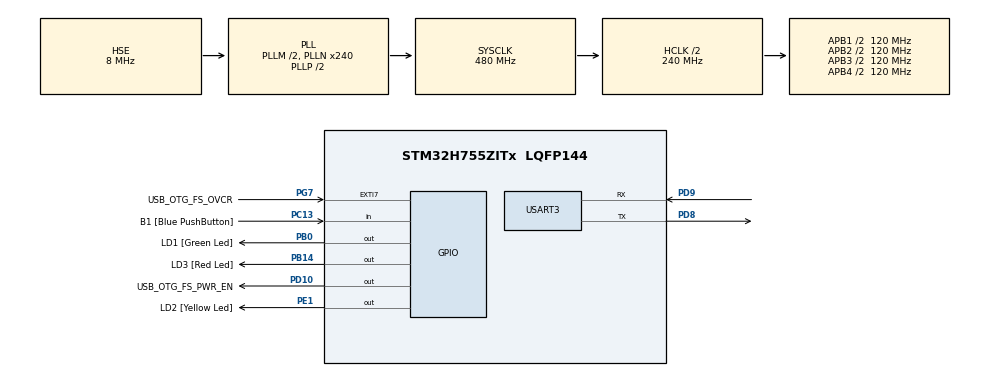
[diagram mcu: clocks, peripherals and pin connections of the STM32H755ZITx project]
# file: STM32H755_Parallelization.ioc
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CortexM4.IPs=FATFS_M4\:I,FREERTOS_M4\:I,IWDG2\:I,RCC,WWDG2\:I,DMA,BDMA,MDMA,NVIC2\:I,ETH,USART3,DEBUG,PDM2PCM_M4\:I,PWR,RESMGR_UTILITY,SYS_M4\:I,USB_DEVICE_M4\:I,USB_HOST_M4\:I,CORTEX_M4\:I,GPIO,OPENAMP_M4\:I,VREFBUF,NUCLEO-H755ZI-Q,TIM6\:I
CortexM4.Pins=PE1
CortexM7.IPs=FATFS_M7\:I,FREERTOS_M7\:I,IWDG1\:I,RCC\:I,WWDG1\:I,DMA\:I,BDMA\:I,MDMA\:I,NVIC1\:I,ETH\:I,USART3\:I,USB_OTG_FS\:I,SYS\:I,CORTEX_M7\:I,DEBUG\:I,PDM2PCM_M7\:I,PWR\:I,RESMGR_UTILITY\:I,USB_DEVICE_M7\:I,USB_HOST_M7\:I,GPIO\:I,OPENAMP_M7\:I,VREFBUF\:I,NUCLEO-H755ZI-Q\:I,TIM7\:I,TIM17\:I
CortexM7.Pins=PC13,PB0,PB14
FREERTOS_M4.Tasks01=defaultTask,24,256,StartDefaultTask,Default,NULL,Dynamic,NULL,NULL
FREERTOS_M4.configUSE_NEWLIB_REENTRANT=1
FREERTOS_M7.Tasks01=defaultTask,24,256,StartDefaultTask,Default,NULL,Dynamic,NULL,NULL
FREERTOS_M7.configUSE_NEWLIB_REENTRANT=1
Mcu.Family=STM32H7
Mcu.Name=STM32H755ZITx
Mcu.Package=LQFP144
NVIC1.PriorityGroup=NVIC_PRIORITYGROUP_4
NVIC1.TIM7_IRQn=true\:15\:0\:false\:false\:true\:false\:false\:true\:true
NVIC1.TimeBase=TIM7_IRQn
NVIC1.TimeBaseIP=TIM7
NVIC2.PriorityGroup=NVIC_PRIORITYGROUP_4
NVIC2.TIM6_DAC_IRQn=true\:15\:0\:false\:false\:true\:false\:false\:true\:true
NVIC2.TimeBase=TIM6_DAC_IRQn
NVIC2.TimeBaseIP=TIM6
PA1.PinAttribute=CortexM7
PA1.Signal=ETH_REF_CLK
PA11.PinAttribute=CortexM7
PA11.Signal=USB_OTG_FS_DM
PA12.PinAttribute=CortexM7
PA12.Signal=USB_OTG_FS_DP
PA2.PinAttribute=CortexM7
PA2.Signal=ETH_MDIO
PA7.PinAttribute=CortexM7
PA7.Signal=ETH_CRS_DV
PA8.PinAttribute=CortexM7
PA8.Signal=USB_OTG_FS_SOF
PA9.PinAttribute=CortexM7
PA9.Signal=USB_OTG_FS_VBUS
PB0.GPIO_Label=LD1 [Green Led]
PB0.PinAttribute=CortexM7
PB0.Signal=GPIO_Output
PB13.PinAttribute=CortexM7
PB13.Signal=ETH_TXD1
PB14.GPIO_Label=LD3 [Red Led]
PB14.PinAttribute=CortexM7
PB14.Signal=GPIO_Output
PC1.PinAttribute=CortexM7
PC1.Signal=ETH_MDC
PC13.GPIO_Label=B1 [Blue PushButton]
PC13.PinAttribute=CortexM7
PC13.Signal=GPIO_Input
PC14-OSC32_IN\ (OSC32_IN).Mode=LSE-External-Oscillator
PC14-OSC32_IN\ (OSC32_IN).PinAttribute=Free
PC14-OSC32_IN\ (OSC32_IN).Signal=RCC_OSC32_IN
PC15-OSC32_OUT\ (OSC32_OUT).Mode=LSE-External-Oscillator
PC15-OSC32_OUT\ (OSC32_OUT).PinAttribute=Free
PC15-OSC32_OUT\ (OSC32_OUT).Signal=RCC_OSC32_OUT
PC4.PinAttribute=CortexM7
PC4.Signal=ETH_RXD0
PC5.PinAttribute=CortexM7
PC5.Signal=ETH_RXD1
PD10.GPIO_Label=USB_OTG_FS_PWR_EN
PD10.PinAttribute=Free
PD10.Signal=GPIO_Output
PD8.Mode=Asynchronous
PD8.PinAttribute=CortexM7
PD8.Signal=USART3_TX
PD9.Mode=Asynchronous
PD9.PinAttribute=CortexM7
PD9.Signal=USART3_RX
PE1.GPIO_Label=LD2 [Yellow Led]
PE1.PinAttribute=CortexM4
PE1.Signal=GPIO_Output
PG11.PinAttribute=CortexM7
PG11.Signal=ETH_TX_EN
PG13.PinAttribute=CortexM7
PG13.Signal=ETH_TXD0
PG7.GPIO_Label=USB_OTG_FS_OVCR
PG7.PinAttribute=Free
PG7.Signal=GPXTI7
PH0-OSC_IN\ (PH0).Mode=HSE-External-Clock-Source
PH0-OSC_IN\ (PH0).PinAttribute=Free
PH0-OSC_IN\ (PH0).Signal=RCC_OSC_IN
PH1-OSC_OUT\ (PH1).PinAttribute=Free
PH1-OSC_OUT\ (PH1).Signal=RCC_OSC_OUT
ProjectManager.HeapSize=M4-0x200,M7-0x200
ProjectManager.StackSize=M4-0x400,M7-0x400
ProjectManager.TargetToolchain=STM32CubeIDE
RCC.ADCFreq_Value=16125000
RCC.APB1Freq_Value=120000000
RCC.APB2Freq_Value=120000000
RCC.APB3Freq_Value=120000000
RCC.APB4Freq_Value=120000000
RCC.CortexFreq_Value=480000000
RCC.D1PPRE=RCC_APB3_DIV2
RCC.D2PPRE1=RCC_APB1_DIV2
RCC.D2PPRE2=RCC_APB2_DIV2
RCC.D3PPRE=RCC_APB4_DIV2
RCC.DIVM1=2
RCC.DIVN1=240
RCC.DIVQ1=5
RCC.HCLKFreq_Value=240000000
RCC.HPRE=RCC_HCLK_DIV2
RCC.HSE_VALUE=8000000
RCC.PLL2FRACN=0
RCC.PLL3FRACN=0
RCC.PLLFRACN=0
RCC.PLLSourceVirtual=RCC_PLLSOURCE_HSE
RCC.SYSCLKFreq_VALUE=480000000
RCC.SYSCLKSource=RCC_SYSCLKSOURCE_PLLCLK
RCC.SupplySource=PWR_DIRECT_SMPS_SUPPLY
RCC.USBFreq_Value=192000000
TIM17.Period=65535
TIM17.Prescaler=2399
USART3.VirtualMode-Asynchronous=VM_ASYNC
VP_FREERTOS_M4_VS_CMSIS_V2.Mode=CMSIS_V2
VP_FREERTOS_M7_VS_CMSIS_V2.Mode=CMSIS_V2
VP_SYS_M4_VS_tim6.Mode=TIM6
VP_SYS_VS_tim7.Mode=TIM7
VP_TIM17_VS_ClockSourceINT.Mode=Enable_Timer
board=NUCLEO-H755ZI-Q

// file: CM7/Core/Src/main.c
/* USER CODE BEGIN Header */
/**
  ******************************************************************************
  * @file           : main.c
  * @brief          : Main program body
  ******************************************************************************
  * @attention
  *
  * Copyright (c) 2024 STMicroelectronics.
  * All rights reserved.
  *
  * This software is licensed under terms that can be found in the LICENSE file
  * in the root directory of this software component.
  * If no LICENSE file comes with this software, it is provided AS-IS.
  *
  ******************************************************************************
  */
/* USER CODE END Header */
#include "main.h"
#include "cmsis_os.h"

/* USER CODE BEGIN Includes */
#include <stdio.h>

/* USER CODE END Includes */

/* USER CODE BEGIN PD */

#ifndef HSEM_ID_0
#define HSEM_ID_0 (0U) /* HW semaphore 0*/
#endif

/* USER CODE END PD */

TIM_HandleTypeDef htim17;

UART_HandleTypeDef huart3;

/* Definitions for defaultTask */
osThreadId_t defaultTaskHandle;
const osThreadAttr_t defaultTask_attributes = {
  .name = "defaultTask",
  .stack_size = 256 * 4,
  .priority = (osPriority_t) osPriorityNormal,
};
/* USER CODE BEGIN PV */
//double *const acum = (double *)0x30000000;
/* USER CODE END PV */

void SystemClock_Config(void);
static void MX_GPIO_Init(void);
static void MX_USART3_UART_Init(void);
static void MX_TIM17_Init(void);
void StartDefaultTask(void *argument);

int main(void)
{

/* USER CODE BEGIN Boot_Mode_Sequence_0 */
  int32_t timeout;
/* USER CODE END Boot_Mode_Sequence_0 */

/* USER CODE BEGIN Boot_Mode_Sequence_1 */
  /* Wait until CPU2 boots and enters in stop mode or timeout*/
  timeout = 0xFFFF;
  while((__HAL_RCC_GET_FLAG(RCC_FLAG_D2CKRDY) != RESET) && (timeout-- > 0));
  if ( timeout < 0 )
  {
  Error_Handler();
  }
/* USER CODE END Boot_Mode_Sequence_1 */
  /* MCU Configuration--------------------------------------------------------*/

  /* Reset of all peripherals, Initializes the Flash interface and the Systick. */
  HAL_Init();

  /* Configure the system clock */
  SystemClock_Config();
/* USER CODE BEGIN Boot_Mode_Sequence_2 */
/* When system initialization is finished, Cortex-M7 will release Cortex-M4 by means of
HSEM notification */
/*HW semaphore Clock enable*/
__HAL_RCC_HSEM_CLK_ENABLE();
/*Take HSEM */
HAL_HSEM_FastTake(HSEM_ID_0);
/*Release HSEM in order to notify the CPU2(CM4)*/
HAL_HSEM_Release(HSEM_ID_0,0);
/* wait until CPU2 wakes up from stop mode */
timeout = 0xFFFF;
while((__HAL_RCC_GET_FLAG(RCC_FLAG_D2CKRDY) == RESET) && (timeout-- > 0));
if ( timeout < 0 )
{
Error_Handler();
}
/* USER CODE END Boot_Mode_Sequence_2 */

  /* Initialize all configured peripherals */
  MX_GPIO_Init();
  MX_USART3_UART_Init();
  MX_TIM17_Init();

  /* Init scheduler */
  osKernelInitialize();

  /* Create the thread(s) */
  /* creation of defaultTask */
  defaultTaskHandle = osThreadNew(StartDefaultTask, NULL, &defaultTask_attributes);

  /* Start scheduler */
  osKernelStart();

  /* We should never get here as control is now taken by the scheduler */

  /* Infinite loop */
  while (1)
  {

  }
}

void SystemClock_Config(void)
{
  RCC_OscInitTypeDef RCC_OscInitStruct = {0};
  RCC_ClkInitTypeDef RCC_ClkInitStruct = {0};

  /** Supply configuration update enable
  */
  HAL_PWREx_ConfigSupply(PWR_DIRECT_SMPS_SUPPLY);

  /** Configure the main internal regulator output voltage
  */
  __HAL_PWR_VOLTAGESCALING_CONFIG(PWR_REGULATOR_VOLTAGE_SCALE0);

  while(!__HAL_PWR_GET_FLAG(PWR_FLAG_VOSRDY)) {}

  /** Initializes the RCC Oscillators according to the specified parameters
  * in the RCC_OscInitTypeDef structure.
  */
  RCC_OscInitStruct.OscillatorType = RCC_OSCILLATORTYPE_HSE;
  RCC_OscInitStruct.HSEState = RCC_HSE_BYPASS;
  RCC_OscInitStruct.PLL.PLLState = RCC_PLL_ON;
  RCC_OscInitStruct.PLL.PLLSource = RCC_PLLSOURCE_HSE;
  RCC_OscInitStruct.PLL.PLLM = 2;
  RCC_OscInitStruct.PLL.PLLN = 240;
  RCC_OscInitStruct.PLL.PLLP = 2;
  RCC_OscInitStruct.PLL.PLLQ = 5;
  RCC_OscInitStruct.PLL.PLLR = 2;
  RCC_OscInitStruct.PLL.PLLRGE = RCC_PLL1VCIRANGE_2;
  RCC_OscInitStruct.PLL.PLLVCOSEL = RCC_PLL1VCOWIDE;
  RCC_OscInitStruct.PLL.PLLFRACN = 0;
  if (HAL_RCC_OscConfig(&RCC_OscInitStruct) != HAL_OK)
  {
    Error_Handler();
  }

  /** Initializes the CPU, AHB and APB buses clocks
  */
  RCC_ClkInitStruct.ClockType = RCC_CLOCKTYPE_HCLK|RCC_CLOCKTYPE_SYSCLK
                              |RCC_CLOCKTYPE_PCLK1|RCC_CLOCKTYPE_PCLK2
                              |RCC_CLOCKTYPE_D3PCLK1|RCC_CLOCKTYPE_D1PCLK1;
  RCC_ClkInitStruct.SYSCLKSource = RCC_SYSCLKSOURCE_PLLCLK;
  RCC_ClkInitStruct.SYSCLKDivider = RCC_SYSCLK_DIV1;
  RCC_ClkInitStruct.AHBCLKDivider = RCC_HCLK_DIV2;
  RCC_ClkInitStruct.APB3CLKDivider = RCC_APB3_DIV2;
  RCC_ClkInitStruct.APB1CLKDivider = RCC_APB1_DIV2;
  RCC_ClkInitStruct.APB2CLKDivider = RCC_APB2_DIV2;
  RCC_ClkInitStruct.APB4CLKDivider = RCC_APB4_DIV2;

  if (HAL_RCC_ClockConfig(&RCC_ClkInitStruct, FLASH_LATENCY_4) != HAL_OK)
  {
    Error_Handler();
  }
}

static void MX_TIM17_Init(void)
{

  htim17.Instance = TIM17;
  htim17.Init.Prescaler = 65535;
  htim17.Init.CounterMode = TIM_COUNTERMODE_UP;
  htim17.Init.Period = 0;
  htim17.Init.ClockDivision = TIM_CLOCKDIVISION_DIV1;
  htim17.Init.RepetitionCounter = 0;
  htim17.Init.AutoReloadPreload = TIM_AUTORELOAD_PRELOAD_DISABLE;
  if (HAL_TIM_Base_Init(&htim17) != HAL_OK)
  {
    Error_Handler();
  }

}

static void MX_USART3_UART_Init(void)
{

  huart3.Instance = USART3;
  huart3.Init.BaudRate = 115200;
  huart3.Init.WordLength = UART_WORDLENGTH_8B;
  huart3.Init.StopBits = UART_STOPBITS_1;
  huart3.Init.Parity = UART_PARITY_NONE;
  huart3.Init.Mode = UART_MODE_TX_RX;
  huart3.Init.HwFlowCtl = UART_HWCONTROL_NONE;
  huart3.Init.OverSampling = UART_OVERSAMPLING_16;
  huart3.Init.OneBitSampling = UART_ONE_BIT_SAMPLE_DISABLE;
  huart3.Init.ClockPrescaler = UART_PRESCALER_DIV1;
  huart3.AdvancedInit.AdvFeatureInit = UART_ADVFEATURE_NO_INIT;
  if (HAL_UART_Init(&huart3) != HAL_OK)
  {
    Error_Handler();
  }
  if (HAL_UARTEx_SetTxFifoThreshold(&huart3, UART_TXFIFO_THRESHOLD_1_8) != HAL_OK)
  {
    Error_Handler();
  }
  if (HAL_UARTEx_SetRxFifoThreshold(&huart3, UART_RXFIFO_THRESHOLD_1_8) != HAL_OK)
  {
    Error_Handler();
  }
  if (HAL_UARTEx_DisableFifoMode(&huart3) != HAL_OK)
  {
    Error_Handler();
  }

}

static void MX_GPIO_Init(void)
{
  GPIO_InitTypeDef GPIO_InitStruct = {0};

  /* GPIO Ports Clock Enable */
  __HAL_RCC_GPIOC_CLK_ENABLE();
  __HAL_RCC_GPIOA_CLK_ENABLE();
  __HAL_RCC_GPIOB_CLK_ENABLE();
  __HAL_RCC_GPIOD_CLK_ENABLE();
  __HAL_RCC_GPIOG_CLK_ENABLE();

  /*Configure GPIO pin Output Level */
  HAL_GPIO_WritePin(GPIOB, LD1_Pin|LD3_Pin, GPIO_PIN_RESET);

  /*Configure GPIO pin : B1_Pin */
  GPIO_InitStruct.Pin = B1_Pin;
  GPIO_InitStruct.Mode = GPIO_MODE_INPUT;
  GPIO_InitStruct.Pull = GPIO_NOPULL;
  HAL_GPIO_Init(B1_GPIO_Port, &GPIO_InitStruct);

  /*Configure GPIO pins : PC1 PC4 PC5 */
  GPIO_InitStruct.Pin = GPIO_PIN_1|GPIO_PIN_4|GPIO_PIN_5;
  GPIO_InitStruct.Mode = GPIO_MODE_AF_PP;
  GPIO_InitStruct.Pull = GPIO_NOPULL;
  GPIO_InitStruct.Speed = GPIO_SPEED_FREQ_LOW;
  GPIO_InitStruct.Alternate = GPIO_AF11_ETH;
  HAL_GPIO_Init(GPIOC, &GPIO_InitStruct);

  /*Configure GPIO pins : PA1 PA2 PA7 */
  GPIO_InitStruct.Pin = GPIO_PIN_1|GPIO_PIN_2|GPIO_PIN_7;
  GPIO_InitStruct.Mode = GPIO_MODE_AF_PP;
  GPIO_InitStruct.Pull = GPIO_NOPULL;
  GPIO_InitStruct.Speed = GPIO_SPEED_FREQ_LOW;
  GPIO_InitStruct.Alternate = GPIO_AF11_ETH;
  HAL_GPIO_Init(GPIOA, &GPIO_InitStruct);

  /*Configure GPIO pins : LD1_Pin LD3_Pin */
  GPIO_InitStruct.Pin = LD1_Pin|LD3_Pin;
  GPIO_InitStruct.Mode = GPIO_MODE_OUTPUT_PP;
  GPIO_InitStruct.Pull = GPIO_NOPULL;
  GPIO_InitStruct.Speed = GPIO_SPEED_FREQ_LOW;
  HAL_GPIO_Init(GPIOB, &GPIO_InitStruct);

  /*Configure GPIO pin : PB13 */
  GPIO_InitStruct.Pin = GPIO_PIN_13;
  GPIO_InitStruct.Mode = GPIO_MODE_AF_PP;
  GPIO_InitStruct.Pull = GPIO_NOPULL;
  GPIO_InitStruct.Speed = GPIO_SPEED_FREQ_LOW;
  GPIO_InitStruct.Alternate = GPIO_AF11_ETH;
  HAL_GPIO_Init(GPIOB, &GPIO_InitStruct);

  /*Configure GPIO pins : PA8 PA11 PA12 */
  GPIO_InitStruct.Pin = GPIO_PIN_8|GPIO_PIN_11|GPIO_PIN_12;
  GPIO_InitStruct.Mode = GPIO_MODE_AF_PP;
  GPIO_InitStruct.Pull = GPIO_NOPULL;
  GPIO_InitStruct.Speed = GPIO_SPEED_FREQ_LOW;
  GPIO_InitStruct.Alternate = GPIO_AF10_OTG1_FS;
  HAL_GPIO_Init(GPIOA, &GPIO_InitStruct);

  /*Configure GPIO pins : PG11 PG13 */
  GPIO_InitStruct.Pin = GPIO_PIN_11|GPIO_PIN_13;
  GPIO_InitStruct.Mode = GPIO_MODE_AF_PP;
  GPIO_InitStruct.Pull = GPIO_NOPULL;
  GPIO_InitStruct.Speed = GPIO_SPEED_FREQ_LOW;
  GPIO_InitStruct.Alternate = GPIO_AF11_ETH;
  HAL_GPIO_Init(GPIOG, &GPIO_InitStruct);

}

void StartDefaultTask(void *argument)
{
  /* USER CODE BEGIN 5 */
		HAL_TIM_Base_Start(&htim17);
		#define CANTIDAD_INTERVALOS 10000000
		double baseIntervalo, fdx, x;
		double acum = 0;
		long i;

		baseIntervalo = 1.0 / CANTIDAD_INTERVALOS;

		// Start timer counter
		uint16_t start_t = __HAL_TIM_GET_COUNTER(&htim17);

		// Perform the calculation of Pi
		for( i = 0, x = 0.0; i < CANTIDAD_INTERVALOS; i++ ) {
			fdx = 4 / ( 1 + x * x );
			acum = acum + ( fdx * baseIntervalo );
			x = x + baseIntervalo;
		}
		//HAL_Delay(1000);
		// Stop timer and calculate the elapsed time
		uint16_t end_t = __HAL_TIM_GET_COUNTER(&htim17);
		uint16_t total_t = end_t - start_t;
		printf("Resultado=%f (%f seconds)\r\n", acum, ((float)total_t * 65535.0)/240000000.0);

	  /* Infinite loop */
	  for(;;)
	  {
		HAL_GPIO_TogglePin(LD1_GPIO_Port, LD1_Pin );
	    osDelay(1000);
	  }

  /* USER CODE END 5 */
}

void HAL_TIM_PeriodElapsedCallback(TIM_HandleTypeDef *htim)
{
  if (htim->Instance == TIM7) {
    HAL_IncTick();
  }
}

void Error_Handler(void)
{
  __disable_irq();
  while (1)
  {
  }
}
